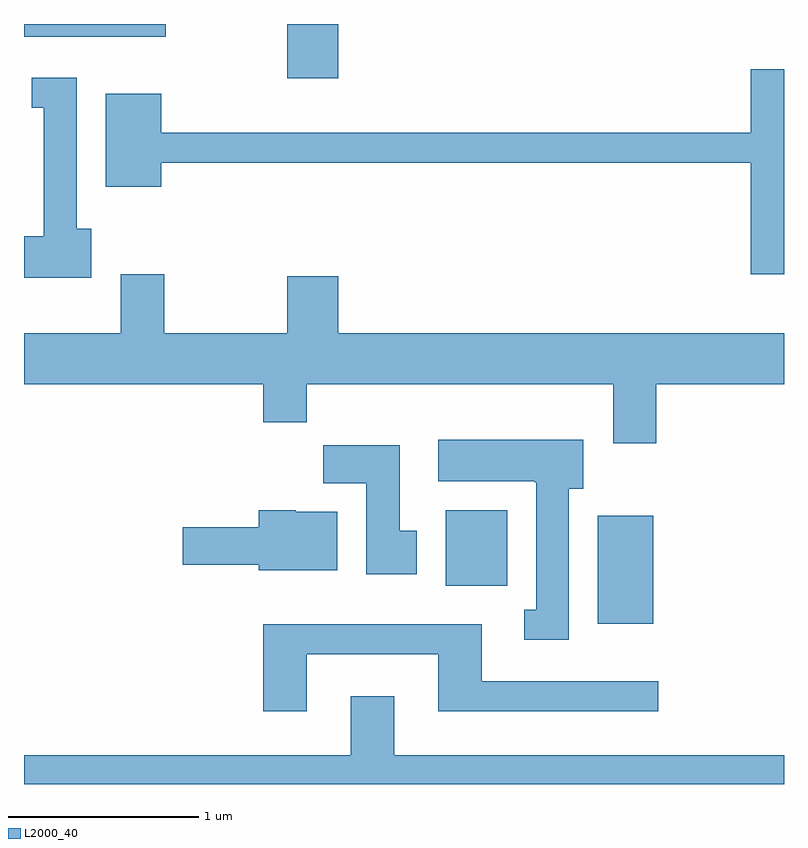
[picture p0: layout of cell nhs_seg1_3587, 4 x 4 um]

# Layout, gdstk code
import gdstk
lib = gdstk.Library(unit=1e-6, precision=1e-09)
def R(c, l, rs):  # rectangles x0, y0, x1, y1
    for r in rs: c.add(gdstk.rectangle(r[:2], r[2:], *l))
def P(c, l, *ps):  # polygons
    for p in ps: c.add(gdstk.Polygon(p, *l))
L2000_40 = (2000, 40)

nhs_seg1_3587 = lib.new_cell('nhs_seg1_3587')
R(nhs_seg1_3587, L2000_40, [(296.631,880.556,296.924,881.124), (295.831,880.756,296.154,881.154), (294.996,883.426,295.264,883.712), (293.611,883.646,294.358,883.712)])
P(nhs_seg1_3587, L2000_40, [(297.611,883.474),(297.436,883.474),(297.436,883.139),(294.334,883.139),(294.334,883.344),(294.041,883.344),(294.041,882.856),(294.334,882.856),(294.334,882.981),(297.436,882.981),(297.436,882.396),(297.611,882.396)],
  [(293.964,882.634),(293.889,882.634),(293.889,883.429),(293.653,883.429),(293.653,883.271),(293.716,883.271),(293.716,882.594),(293.611,882.594),(293.611,882.376),(293.964,882.376)],
  [(294.349,882.394),(294.121,882.394),(294.121,882.084),(293.611,882.084),(293.611,881.816),(294.871,881.816),(294.871,881.616),(295.099,881.616),(295.099,881.816),(296.711,881.816),(296.711,881.506),(296.939,881.506),(296.939,881.816),(297.611,881.816),(297.611,882.084),(295.264,882.084),(295.264,882.384),(294.996,882.384),(294.996,882.084),(294.349,882.084)],
  [(296.479,881.266),(296.554,881.266),(296.554,881.524),(295.791,881.524),(295.791,881.306),(296.3,881.306),(296.3,881.3),(296.306,881.3),(296.306,880.629),(296.243,880.629),(296.243,880.471),(296.479,880.471)],
  [(295.679,881.044),(295.589,881.044),(295.589,881.494),(295.186,881.494),(295.186,881.296),(295.411,881.296),(295.411,880.816),(295.679,880.816)],
  [(295.259,881.144),(295.04,881.144),(295.04,881.154),(294.846,881.154),(294.846,881.064),(294.446,881.064),(294.446,880.866),(294.846,880.866),(294.846,880.836),(295.259,880.836)],
  [(295.099,880.396),(295.791,880.396),(295.791,880.096),(296.948,880.096),(296.948,880.254),(296.019,880.254),(296.019,880.554),(294.871,880.554),(294.871,880.096),(295.099,880.096)],
  [(297.611,879.864),(295.559,879.864),(295.559,880.174),(295.331,880.174),(295.331,879.864),(293.611,879.864),(293.611,879.712),(297.611,879.712)])

lib.write_gds('nhs_seg1_3587.gds')
